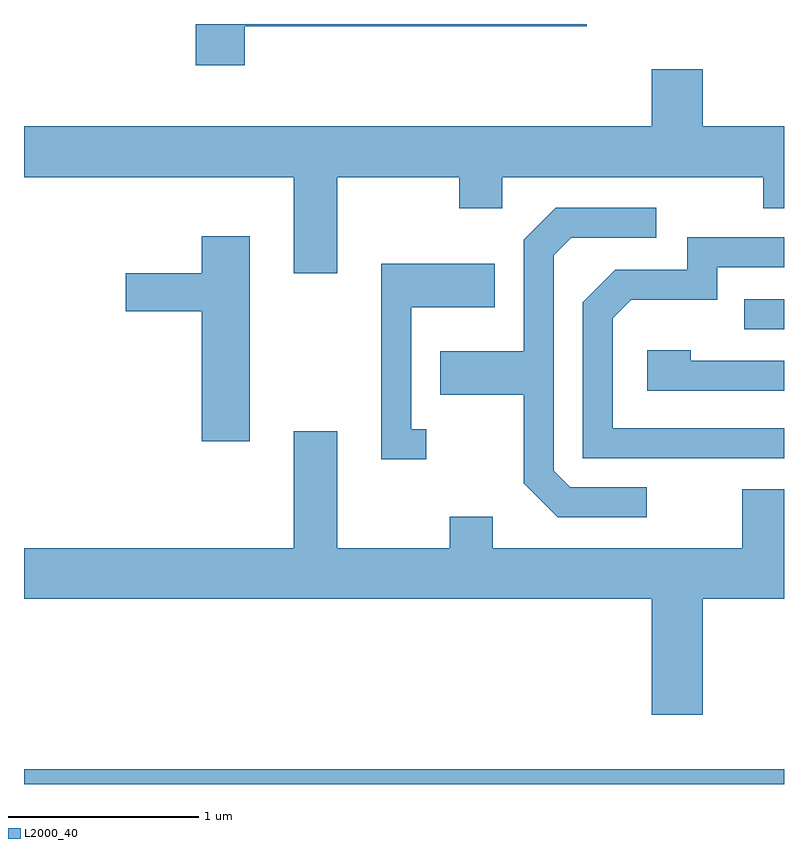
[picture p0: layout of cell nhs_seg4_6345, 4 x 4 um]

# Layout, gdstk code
import gdstk
lib = gdstk.Library(unit=1e-6, precision=1e-09)
def R(c, l, rs):  # rectangles x0, y0, x1, y1
    for r in rs: c.add(gdstk.rectangle(r[:2], r[2:], *l))
def P(c, l, *ps):  # polygons
    for p in ps: c.add(gdstk.Polygon(p, *l))
L2000_40 = (2000, 40)

nhs_seg4_6345 = lib.new_cell('nhs_seg4_6345')
R(nhs_seg4_6345, L2000_40, [(371.611,1295.982,375.611,1296.059), (375.403,1298.376,375.611,1298.534)])
P(nhs_seg4_6345, L2000_40, [(372.774,1299.971),(374.574,1299.971),(374.574,1299.982),(372.516,1299.982),(372.516,1299.766),(372.774,1299.766)],
  [(373.259,1299.176),(373.901,1299.176),(373.901,1299.011),(374.129,1299.011),(374.129,1299.176),(375.501,1299.176),(375.501,1299.011),(375.611,1299.011),(375.611,1299.444),(375.184,1299.444),(375.184,1299.744),(374.916,1299.744),(374.916,1299.444),(371.611,1299.444),(371.611,1299.176),(373.031,1299.176),(373.031,1298.671),(373.259,1298.671)],
  [(374.888,1297.544),(374.487,1297.544),(374.399,1297.632),(374.399,1298.764),(374.492,1298.856),(374.938,1298.856),(374.938,1299.014),(374.409,1299.014),(374.241,1298.847),(374.241,1298.259),(373.801,1298.259),(373.801,1298.031),(374.241,1298.031),(374.241,1297.564),(374.419,1297.386),(374.888,1297.386)],
  [(372.799,1298.864),(372.546,1298.864),(372.546,1298.669),(372.146,1298.669),(372.146,1298.471),(372.546,1298.471),(372.546,1297.786),(372.799,1297.786)],
  [(375.611,1297.854),(374.709,1297.854),(374.709,1298.434),(374.807,1298.531),(375.259,1298.531),(375.259,1298.701),(375.611,1298.701),(375.611,1298.859),(375.101,1298.859),(375.101,1298.689),(374.724,1298.689),(374.551,1298.517),(374.551,1297.696),(375.611,1297.696)],
  [(373.728,1297.849),(373.649,1297.849),(373.649,1298.491),(374.089,1298.491),(374.089,1298.719),(373.491,1298.719),(373.491,1297.691),(373.728,1297.691)],
  [(375.611,1298.209),(375.119,1298.209),(375.119,1298.264),(374.891,1298.264),(374.891,1298.051),(375.611,1298.051)],
  [(375.184,1296.956),(375.611,1296.956),(375.611,1297.534),(375.391,1297.534),(375.391,1297.224),(374.079,1297.224),(374.079,1297.389),(373.851,1297.389),(373.851,1297.224),(373.259,1297.224),(373.259,1297.839),(373.031,1297.839),(373.031,1297.224),(371.611,1297.224),(371.611,1296.956),(374.916,1296.956),(374.916,1296.346),(375.184,1296.346)])

lib.write_gds('nhs_seg4_6345.gds')
